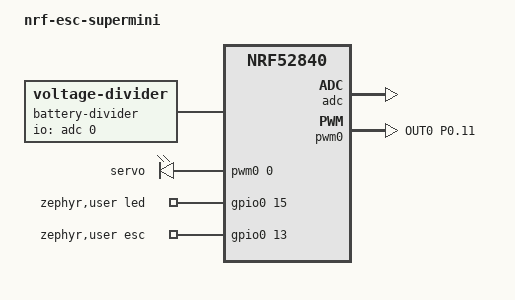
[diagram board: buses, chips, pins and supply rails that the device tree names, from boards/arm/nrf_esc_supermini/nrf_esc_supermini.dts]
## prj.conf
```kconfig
CONFIG_NCS_SAMPLES_DEFAULTS=y

CONFIG_ESB=y

CONFIG_ADC=y
CONFIG_ADC_NRFX_SAADC=y
CONFIG_FPU=y
CONFIG_I2C=y
CONFIG_PINCTRL=y

CONFIG_NVS=y

CONFIG_PM_DEVICE=y
CONFIG_POWEROFF=y

CONFIG_FLASH=y
CONFIG_FLASH_PAGE_LAYOUT=y
CONFIG_FLASH_MAP=y

CONFIG_SETTINGS=y
CONFIG_SETTINGS_NVS=y
CONFIG_SETTINGS_RUNTIME=y

CONFIG_MPU_ALLOW_FLASH_WRITE=y

CONFIG_CONSOLE=y
CONFIG_USE_SEGGER_RTT=y
CONFIG_RTT_CONSOLE=y
CONFIG_LOG=y
CONFIG_LOG_MODE_DEFERRED=y
#CONFIG_LOG_MODE_IMMEDIATE=y
CONFIG_LOG_BACKEND_RTT=y
CONFIG_CBPRINTF_FP_SUPPORT=y
CONFIG_ADC_LOG_LEVEL_OFF=y

CONFIG_PWM=y
CONFIG_GPIO=y

CONFIG_CRC=y

CONFIG_NVS_LOOKUP_CACHE=y

CONFIG_NEWLIB_LIBC=y
CONFIG_NRFX_TIMER1=y

#speed up boot? (use internal rc oscillator)
#CONFIG_CLOCK_CONTROL_NRF_K32SRC_RC=y
#speed up boot? (synthesize lf clock)
CONFIG_CLOCK_CONTROL_NRF_K32SRC_SYNTH=y

#generate uf2 for usb programming
CONFIG_BUILD_OUTPUT_UF2=y

CONFIG_ESB_TX_FIFO_SIZE=1

# dont need it
CONFIG_CRYPTO=n
```

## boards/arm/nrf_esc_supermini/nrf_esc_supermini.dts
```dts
// Copyright (c) 2024 Nordic Semiconductor ASA
// SPDX-License-Identifier: Apache-2.0

/dts-v1/;
#include <nordic/nrf52840_qiaa.dtsi>

/ {
	model = "nrf-esc-supermini";
	compatible = "nrf-esc-supermini";

	chosen {
		zephyr,sram = &sram0;
		zephyr,flash = &flash0;
		zephyr,code-partition = &slot0_partition;
	};

	battery-divider {
		compatible = "voltage-divider";
		status = "okay";
		io-channels = <&adc 0>;
		output-ohms = <330000>;
		full-ohms = <439000>; // 1000000+330000
	};

	pwmleds {
		compatible = "pwm-leds";
		servo: servo {
			pwms = <&pwm0 0 PWM_USEC(2100) PWM_POLARITY_NORMAL>;
		};
	};

	zephyr,user {
		led-gpios = <&gpio0 15 GPIO_OPEN_SOURCE>;
		esc-gpios = <&gpio0 13 0>;
	};

};

&flash0 {
	partitions {
		compatible = "fixed-partitions";
		#address-cells = <1>;
		#size-cells = <1>;

		boot_partition: partition@0 {
			label = "mcuboot";
			reg = <0x0 0xc000>;
		};
		slot0_partition: partition@c000 {
			label = "image-0";
			reg = <0xc000 0x72000>;
		};
		slot1_partition: partition@7e000 {
			label = "image-1";
			reg = <0x7e000 0x72000>;
		};
		scratch_partition: partition@f0000 {
			label = "image-scratch";
			reg = <0xf0000 0xa000>;
		};
		storage_partition: partition@fa000 {
			label = "storage";
			reg = <0xfa000 0x6000>;
		};
	};
};

&adc {
	status = "okay";
};

&gpiote {
	status = "okay";
};

&gpio0 {
	status = "okay";
};

&gpio1 {
	status = "okay";
};

&pwm0 {
	status = "okay";
	pinctrl-0 = <&pwm0_default>;
	pinctrl-1 = <&pwm0_sleep>;
	pinctrl-names = "default", "sleep";
};

&pinctrl {
	pwm0_default: pwm0_default {
		group1 {
			psels = <NRF_PSEL(PWM_OUT0, 0, 11)>;
		};
	};
	pwm0_sleep: pwm0_sleep {
		group1 {
			psels = <NRF_PSEL(PWM_OUT0, 0, 11)>;
            low-power-enable;
		};
	};
};

&cryptocell {
	status = "disabled";
};

&nfct {
	status = "disabled";
};
```

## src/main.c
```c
#include <zephyr/device.h>
#include <zephyr/devicetree.h>
#include <zephyr/drivers/clock_control.h>
#include <zephyr/drivers/clock_control/nrf_clock_control.h>
#include <zephyr/drivers/gpio.h>
#include <zephyr/irq.h>
#include <zephyr/logging/log.h>
#include <nrf.h>
#include <esb.h>
#include <zephyr/kernel.h>
#include <zephyr/types.h>
#include <math.h>
#include <zephyr/init.h>
#include "battery.h"
#include <zephyr/drivers/flash.h>
#include <zephyr/storage/flash_map.h>
#include <zephyr/fs/nvs.h>

#include <zephyr/types.h>
#include <stddef.h>
#include <string.h>
#include <errno.h>
#include <zephyr/sys/printk.h>
#include <zephyr/sys/byteorder.h>
#include <zephyr/kernel.h>
#include <zephyr/drivers/gpio.h>
#include <soc.h>
#include <zephyr/settings/settings.h>
#include <math.h>
#include <stdio.h>
#include <stdlib.h>
#include "battery.h"
#include <zephyr/drivers/clock_control.h>
#include <zephyr/drivers/clock_control/nrf_clock_control.h>
#include <zephyr/drivers/gpio.h>
#include <zephyr/irq.h>
#include <zephyr/logging/log.h>
#include <nrf.h>
#include <esb.h>
#include <zephyr/device.h>
#include <zephyr/devicetree.h>
#include <zephyr/kernel.h>
#include <zephyr/types.h>
#include <zephyr/init.h>
#include <hal/nrf_gpio.h>
#include <zephyr/sys/poweroff.h>
#include <zephyr/sys/reboot.h>
#include <zephyr/drivers/i2c.h>
#include <zephyr/drivers/pwm.h>
#include <zephyr/drivers/flash.h>
#include <zephyr/storage/flash_map.h>
#include <zephyr/fs/nvs.h>

LOG_MODULE_REGISTER(main, 4);

static struct nvs_fs fs;

#define NVS_PARTITION		storage_partition
#define NVS_PARTITION_DEVICE	FIXED_PARTITION_DEVICE(NVS_PARTITION)
#define NVS_PARTITION_OFFSET	FIXED_PARTITION_OFFSET(NVS_PARTITION)

#define STORED_TRACKERS 1
#define RBT_CNT_ID 2
#define STORED_ADDR_0 3

static struct esb_payload rx_payload;
static struct esb_payload tx_payload = ESB_CREATE_PAYLOAD(0, 0, 0, 0, 0);
static struct esb_payload tx_payload_pair = ESB_CREATE_PAYLOAD(0, 0, 0, 0, 0, 0, 0, 0, 0);

// this was randomly generated
uint8_t discovery_base_addr_0[4] = {0x62, 0x39, 0x8A, 0xF2};
uint8_t discovery_base_addr_1[4] = {0x28, 0xFF, 0x50, 0xB8};
uint8_t discovery_addr_prefix[8] = {0xFE, 0xFF, 0x29, 0x27, 0x09, 0x02, 0xB2, 0xD6};
uint8_t base_addr_0[4] = {0,0,0,0};
uint8_t base_addr_1[4] = {0,0,0,0};
uint8_t addr_prefix[8] = {0,0,0,0,0,0,0,0};
uint8_t stored_trackers = 0;
uint64_t stored_tracker_addr[16] = {0,0,0,0,0,0,0,0,0,0,0,0,0,0,0,0};
uint8_t pairing_buf[8] = {0,0,0,0,0,0,0,0};

uint8_t reset_mode = -1;

#define ZEPHYR_USER_NODE DT_PATH(zephyr_user)
const struct gpio_dt_spec led = GPIO_DT_SPEC_GET(ZEPHYR_USER_NODE, led_gpios);
static const struct pwm_dt_spec servo = PWM_DT_SPEC_GET(DT_NODELABEL(servo));
const struct gpio_dt_spec esc = GPIO_DT_SPEC_GET(ZEPHYR_USER_NODE, esc_gpios);

int tickrate = 5;

uint8_t batt;
uint8_t batt_v;
uint32_t batt_pptt;

bool main_running = false;

unsigned int last_batt_pptt[16] = {10001,10001,10001,10001,10001,10001,10001,10001,10001,10001,10001,10001,10001,10001,10001,10001};
int8_t last_batt_pptt_i = 0;
bool system_off_main = false;
bool send_data = false;
int16_t pot_val = 0;
int16_t pot_val_actual = 0;
int64_t idle_start_time = 0;
int64_t idle_end_time = 0;
int64_t last_data_sent = 0;
bool idle_esc = true;
#define esc_idle_time_dur 60000
#define esc_start_time_dur 800

bool throttle = false;

void event_handler(struct esb_evt const *event)
{
	switch (event->evt_id)
	{
	case ESB_EVENT_TX_SUCCESS:
		break;
	case ESB_EVENT_TX_FAILED:
		break;
	case ESB_EVENT_RX_RECEIVED:
		if (esb_read_rx_payload(&rx_payload) == 0) {
			if (rx_payload.length == 8) {
				for (int i = 0; i < 8; i++) {
					pairing_buf[i] = rx_payload.data[i];
				}
				esb_write_payload(&tx_payload_pair); // Add to TX buffer
			} else if (rx_payload.length == 10) {
				if (rx_payload.data[0] != rx_payload.data[2]) break;
				if (rx_payload.data[1] != rx_payload.data[3]) break;
				pot_val = (int16_t)rx_payload.data[0] << 8 | rx_payload.data[1];
				last_data_sent = k_uptime_get();
				esb_write_payload(&tx_payload); // Add to TX buffer
			}
		}
		break;
	}
}

int clocks_start(void)
{
	int err;
	int res;
	struct onoff_manager *clk_mgr;
	struct onoff_client clk_cli;
	clk_mgr = z_nrf_clock_control_get_onoff(CLOCK_CONTROL_NRF_SUBSYS_HF);
	sys_notify_init_spinwait(&clk_cli.notify);
	err = onoff_request(clk_mgr, &clk_cli);
	do {
		err = sys_notify_fetch_result(&clk_cli.notify, &res);
	} while (err);
	return 0;
}

int esb_initialize_tx(void)
{
	struct esb_config config = ESB_DEFAULT_CONFIG;

	// config.protocol = ESB_PROTOCOL_ESB_DPL;
	// config.mode = ESB_MODE_PTX;
	config.event_handler = event_handler;
	config.bitrate = ESB_BITRATE_1MBPS;
	// config.crc = ESB_CRC_16BIT;
	config.tx_output_power = 8;
	// config.retransmit_delay = 600;
	config.retransmit_count = 0;
	config.tx_mode = ESB_TXMODE_MANUAL;
	// config.payload_length = 32;
	config.selective_auto_ack = true;

	// Fast startup mode
	NRF_RADIO->MODECNF0 |= RADIO_MODECNF0_RU_Fast << RADIO_MODECNF0_RU_Pos;
	// nrf_radio_modecnf0_set(NRF_RADIO, true, 0);

	esb_init(&config);
	esb_set_base_address_0(base_addr_0);
	esb_set_base_address_1(base_addr_1);
	esb_set_prefixes(addr_prefix, ARRAY_SIZE(addr_prefix));

	return 0;
}

int esb_initialize(void)
{
	struct esb_config config = ESB_DEFAULT_CONFIG;

	// config.protocol = ESB_PROTOCOL_ESB_DPL;
	config.mode = ESB_MODE_PRX;
	config.event_handler = event_handler;
	config.bitrate = ESB_BITRATE_1MBPS;
	// config.crc = ESB_CRC_16BIT;
	config.tx_output_power = 8;
	// config.retransmit_delay = 600;
	// config.retransmit_count = 3;
	// config.tx_mode = ESB_TXMODE_AUTO;
	// config.payload_length = 32;
	config.selective_auto_ack = true;

	// Fast startup mode
	NRF_RADIO->MODECNF0 |= RADIO_MODECNF0_RU_Fast << RADIO_MODECNF0_RU_Pos;
	// nrf_radio_modecnf0_set(NRF_RADIO, true, 0);

	esb_init(&config);
	esb_set_base_address_0(base_addr_0);
	esb_set_base_address_1(base_addr_1);
	esb_set_prefixes(addr_prefix, ARRAY_SIZE(addr_prefix));

	return 0;
}

void configure_system_off(void){
	// Configure dock interrupt
	// Set system off
	sys_poweroff();
}

void power_check(void) {
	int batt_mV;
	uint32_t batt_pptt = read_batt_mV(&batt_mV);
	if (batt_pptt == 0) {
		gpio_pin_set_dt(&led, 0); // Turn off LED
		//configure_system_off();
	}
	LOG_INF("Battery %u%% (%dmV)", batt_pptt/100, batt_mV);
}

void wait_for_threads(void) {
	while (main_running) {
		k_usleep(1);
	}
}

int main(void)
{
	int32_t reset_reason = NRF_POWER->RESETREAS;
	NRF_POWER->RESETREAS = NRF_POWER->RESETREAS; // Clear RESETREAS
	uint8_t reboot_counter = 0;

	//power_check(); // check the battery first before continuing (4ms delta to read from ADC)

	int blink = 0;
	gpio_pin_configure_dt(&led, GPIO_OUTPUT);
	gpio_pin_set_dt(&led, 1);

	gpio_pin_configure_dt(&esc, GPIO_OUTPUT);

	struct flash_pages_info info;
	fs.flash_device = NVS_PARTITION_DEVICE;
	fs.offset = NVS_PARTITION_OFFSET; // Start NVS FS here
	flash_get_page_info_by_offs(fs.flash_device, fs.offset, &info);
	fs.sector_size = info.size; // Sector size equal to page size
	fs.sector_count = 4U; // 4 sectors
	nvs_mount(&fs);

	if (reset_reason & 0x01) { // Count pin resets
		nvs_read(&fs, RBT_CNT_ID, &reboot_counter, sizeof(reboot_counter));
		reset_mode = reboot_counter;
		reboot_counter++;
		nvs_write(&fs, RBT_CNT_ID, &reboot_counter, sizeof(reboot_counter));
		k_msleep(1000); // Wait before clearing counter and continuing
		reboot_counter = 0;
		nvs_write(&fs, RBT_CNT_ID, &reboot_counter, sizeof(reboot_counter));
	}
	gpio_pin_set_dt(&led, 0);

	if (reset_mode == 1) { // Clear stored data
		nvs_write(&fs, STORED_TRACKERS, &stored_trackers, sizeof(stored_trackers));
		for (int i = 0; i < 16; i++) {
			nvs_write(&fs, STORED_ADDR_0+i, &stored_tracker_addr[i], sizeof(stored_tracker_addr[0]));
		}
		LOG_INF("NVS Reset");
		reset_mode = 0; // Clear reset mode
	} else {
		nvs_read(&fs, STORED_TRACKERS, &stored_trackers, sizeof(stored_trackers));
		for (int i = 0; i < 16; i++) {
			nvs_read(&fs, STORED_ADDR_0+i, &stored_tracker_addr[i], sizeof(stored_tracker_addr[0]));
		}
		LOG_INF("%d devices stored", stored_trackers);
	}

	// TODO add back separate pairing / clear pairing

	clocks_start();

	if (stored_trackers == 0) { // Pairing mode
		LOG_INF("Starting in pairing mode");
		for (int i = 0; i < 4; i++) {
			base_addr_0[i] = discovery_base_addr_0[i];
			base_addr_1[i] = discovery_base_addr_1[i];
		}
		for (int i = 0; i < 8; i++) {
			addr_prefix[i] = discovery_addr_prefix[i];
		}
		esb_initialize();
		esb_start_rx();
		tx_payload_pair.noack = false;
		uint64_t addr = (((uint64_t)(NRF_FICR->DEVICEADDR[1]) << 32) | NRF_FICR->DEVICEADDR[0]) & 0xFFFFFF;
		LOG_INF("Device address %lld", addr);
		for (int i = 0; i < 6; i++) {
			tx_payload_pair.data[i+2] = (addr >> (8 * i)) & 0xFF;
		}
		while (true) { // Run indefinitely (User must reset/unplug dongle)
			uint64_t found_addr = 0;
			for (int i = 0; i < 6; i++) { // Take device address from RX buffer
				found_addr |= (uint64_t)pairing_buf[i+2] << (8*i);
			}
			uint16_t send_tracker_id = stored_trackers; // Use new tracker id
			for (int i = 0; i < stored_trackers; i++) { // Check if the device is already stored
				if (found_addr != 0 && stored_tracker_addr[i] == found_addr) {
					//LOG_INF("Found device linked to id %d with address %lld", i, found_addr);
					send_tracker_id = i;
				}
			}
			if (found_addr != 0 && send_tracker_id == stored_trackers && stored_trackers < 16) { // New device, add to NVS
				LOG_INF("Added device on id %d with address %lld", stored_trackers, found_addr);
				stored_tracker_addr[stored_trackers] = found_addr;
				nvs_write(&fs, STORED_ADDR_0+stored_trackers, &stored_tracker_addr[stored_trackers], sizeof(stored_tracker_addr[0]));
				stored_trackers++;
				nvs_write(&fs, STORED_TRACKERS, &stored_trackers, sizeof(stored_trackers));
			}
			if (send_tracker_id < 16) { // Make sure the dongle is not full
				tx_payload_pair.data[0] = pairing_buf[0]; // Use int sent from device to make sure packet is for that device
			} else {
				tx_payload_pair.data[0] = 0; // Invalidate packet
			}
			tx_payload_pair.data[1] = send_tracker_id; // Add tracker id to packet
			//esb_flush_rx();
			//esb_flush_tx();
			//esb_write_payload(&tx_payload_pair); // Add to TX buffer
			if (blink == 0) {
				gpio_pin_set_dt(&led, 1);
				k_msleep(100);
				gpio_pin_set_dt(&led, 0);
				k_msleep(400);
			}
			else
				k_msleep(500);
			blink++;
			blink %= 2;
		}
	}

	// Generate addresses from device address
	uint64_t addr = (((uint64_t)(NRF_FICR->DEVICEADDR[1]) << 32) | NRF_FICR->DEVICEADDR[0]) & 0xFFFFFF;
	uint8_t buf[8] = {0,0,0,0,0,0,0,0};
	for (int i = 0; i < 6; i++) {
		buf[i+2] = (addr >> (8 * i)) & 0xFF;
	}
	uint8_t buf2[16] = {0,0,0,0,0,0,0,0,0,0,0,0,0,0,0,0};
	for (int i = 0; i < 4; i++) {
		buf2[i] = buf[i+2];
		buf2[i+4] = buf[i+2] + buf[6];
	}
	for (int i = 0; i < 8; i++) {
		buf2[i+8] = buf[7] + i;
	}
	for (int i = 0; i < 16; i++) {
		if (buf2[i] == 0x00 || buf2[i] == 0x55 || buf2[i] == 0xAA) {
			buf2[i] += 8;
		};
	}
	for (int i = 0; i < 4; i++) {
		base_addr_0[i] = buf2[i];
		base_addr_1[i] = buf2[i+4];
	}
	for (int i = 0; i < 8; i++) {
		addr_prefix[i] = buf2[i+8];
	}

	esb_initialize();
	esb_start_rx();

	tx_payload.noack = false;

	while (1)
	{
		// Get start time
		int64_t time_begin = k_uptime_get();

		int batt_mV;
		batt_pptt = read_batt_mV(&batt_mV);

		last_batt_pptt[last_batt_pptt_i] = batt_pptt;
		last_batt_pptt_i++;
		last_batt_pptt_i %= 15;
		for (uint8_t i = 0; i < 15; i++) {  // Average battery readings across 16 samples
			if (last_batt_pptt[i] == 10001) {
				batt_pptt += batt_pptt / (i + 1);
			} else {
				batt_pptt += last_batt_pptt[i];
			}
		}
		batt_pptt /= 16;
		if (batt_pptt + 49 < last_batt_pptt[15]) {last_batt_pptt[15] = batt_pptt + 49;} // Lower bound -100pptt
		else if (batt_pptt - 49 > last_batt_pptt[15]) {last_batt_pptt[15] = batt_pptt - 49;} // Upper bound +0pptt
		else {batt_pptt = last_batt_pptt[15];} // Effectively 100-10000 -> 1-100%

		// format for packet send
		batt = batt_pptt / 100;
//		if (batt < 1) {batt = 1;} // Clamp to 1%
		batt_mV /= 10;
		batt_mV -= 245;
		if (batt_mV < 0) {batt_v = 0;} // Very dead but it is what it is
		else if (batt_mV > 255) {batt_v = 255;}
		else {batt_v = batt_mV;} // 0-255 -> 2.45-5.00V
		tx_payload.data[0] = batt;
		tx_payload.data[1] = batt;

		if (k_uptime_get() > last_data_sent + 500) pot_val = 0;

		float change_sec = 4.0;
		float max_change = change_sec * 32768.0 * tickrate / 1000.0;
		float idle_val_f = 0.08;
		float idle_val = idle_val_f * 32768.0;
//		int16_t throttle_val = 0.88 * 32768.0;
		if (pot_val > -idle_val && pot_val < idle_val)
		{
			pot_val = 0; // actual should be 0
			if (pot_val_actual < -idle_val || pot_val_actual > idle_val)
			{
				idle_start_time = k_uptime_get();
			}
			else if (k_uptime_get() > idle_start_time + esc_idle_time_dur)
			{
				idle_start_time = 0;
				idle_esc = true;
				// actual should be off
			}
		}
		else if (idle_esc) {
			idle_end_time = k_uptime_get();
			idle_esc = false;
		}

//		if ((batt < 30) && (throttle == false)) throttle = true;
//		if ((batt > 60) && (throttle == true)) throttle = false;
//		if (throttle) {
//			if (pot_val > throttle_val) pot_val = throttle_val;
//			if (pot_val < -throttle_val) pot_val = -throttle_val;
//		}
		
		int16_t pot_val_actual2 = pot_val;
		if (k_uptime_get() < idle_end_time + esc_start_time_dur)
		{
			pot_val_actual2 = 0; // actual should be 0
		}

//		float max_fwd_f = 0.81;
//		float mav_rev_f = 0.86;
		float max_fwd_f = 1;
		float mav_rev_f = 1;
		if (pot_val_actual2 > idle_val) pot_val_actual2 = idle_val + ((float)pot_val_actual2 - idle_val) * ((max_fwd_f - idle_val_f) / (1 - idle_val_f));
		if (pot_val_actual2 < -idle_val) pot_val_actual2 = -idle_val - ((float)(-pot_val_actual2) - idle_val) * ((mav_rev_f - idle_val_f) / (1 - idle_val_f));
		if (pot_val_actual2 > max_fwd_f * 32768) pot_val_actual2 = max_fwd_f * 32768;
		if (pot_val_actual2 < -mav_rev_f * 32768) pot_val_actual2 = -mav_rev_f * 32768;
		if (pot_val_actual2 < pot_val_actual - max_change) pot_val_actual -= max_change;
		else if (pot_val_actual2 > pot_val_actual + max_change) pot_val_actual += max_change;
		else pot_val_actual = pot_val_actual2;

		float pot_val_f = (float)pot_val_actual / 32768;
		pot_val_f += 1;
		pot_val_f *= 500;
		pot_val_f += 1000;
		pot_val_f *= 1000;

		if (idle_esc) gpio_pin_set_dt(&led, 0);
		else {
			if (batt < 25 && blink < 500/tickrate) // low bat
				gpio_pin_set_dt(&led, 0);
			else
				gpio_pin_set_dt(&led, 1);
			blink++;
			blink %= 1000/tickrate;
		}

		if (idle_esc) gpio_pin_set_dt(&esc, 0);
		else gpio_pin_set_dt(&esc, 1);

		if (idle_esc) pwm_set_pulse_dt(&servo, 0);
		else pwm_set_pulse_dt(&servo, (uint32_t)pot_val_f);

		// Get time elapsed and sleep/yield until next tick
		int64_t time_delta = k_uptime_get() - time_begin;
		if (time_delta > tickrate)
		{
			k_yield();
		}
		else
		{
			k_msleep(tickrate - time_delta);
		}
	}
}
// Receiver, receives pwm and transmits battery and rpm and data to controller
```
